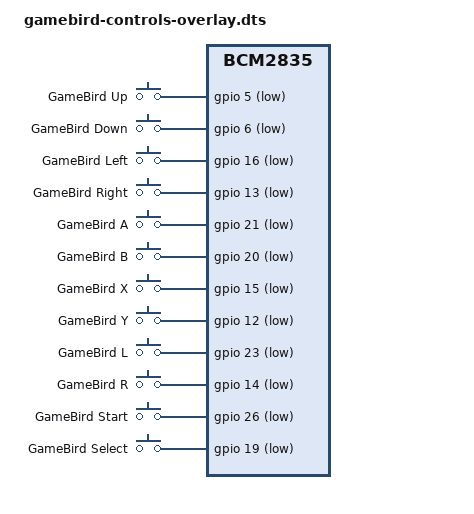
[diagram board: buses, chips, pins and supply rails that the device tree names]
/dts-v1/;
/plugin/;

/*
 * Waveshare GamePi13 controls for Raspberry Pi.
 *
 * Every switch is active-low and connects its GPIO to ground.  This overlay
 * deliberately uses the in-tree gpio-keys driver instead of an out-of-tree
 * polling module.  Numeric constants keep the file directly compilable by
 * dtc without requiring kernel headers on the target:
 *
 *   GPIO_ACTIVE_LOW = 1
 *   BTN_A/B/X/Y      = 304/305/307/308
 *   BTN_TL/TR        = 310/311
 *   BTN_SELECT/START = 314/315
 *   BTN_DPAD_*       = 544..547
 */

/ {
	compatible = "brcm,bcm2835";

	fragment@0 {
		target = <&gpio>;
		__overlay__ {
			gamebird_control_pins: gamebird_control_pins {
				brcm,pins = <5 6 13 16 19 26 21 20 15 12 23 14>;
				brcm,function = <0 0 0 0 0 0 0 0 0 0 0 0>;
				brcm,pull = <2 2 2 2 2 2 2 2 2 2 2 2>;
			};
		};
	};

	fragment@1 {
		target-path = "/";
		__overlay__ {
			gamebird_controls: gamebird-controls {
				compatible = "gpio-keys";
				label = "GameBird Controls";
				pinctrl-names = "default";
				pinctrl-0 = <&gamebird_control_pins>;
				status = "okay";

				button-up {
					label = "GameBird Up";
					linux,code = <544>;
					gpios = <&gpio 5 1>;
					debounce-interval = <20>;
				};

				button-down {
					label = "GameBird Down";
					linux,code = <545>;
					gpios = <&gpio 6 1>;
					debounce-interval = <20>;
				};

				button-left {
					label = "GameBird Left";
					linux,code = <546>;
					gpios = <&gpio 16 1>;
					debounce-interval = <20>;
				};

				button-right {
					label = "GameBird Right";
					linux,code = <547>;
					gpios = <&gpio 13 1>;
					debounce-interval = <20>;
				};

				button-a {
					label = "GameBird A";
					linux,code = <304>;
					gpios = <&gpio 21 1>;
					debounce-interval = <20>;
				};

				button-b {
					label = "GameBird B";
					linux,code = <305>;
					gpios = <&gpio 20 1>;
					debounce-interval = <20>;
				};

				button-x {
					label = "GameBird X";
					linux,code = <307>;
					gpios = <&gpio 15 1>;
					debounce-interval = <20>;
				};

				button-y {
					label = "GameBird Y";
					linux,code = <308>;
					gpios = <&gpio 12 1>;
					debounce-interval = <20>;
				};

				button-l {
					label = "GameBird L";
					linux,code = <310>;
					gpios = <&gpio 23 1>;
					debounce-interval = <20>;
				};

				button-r {
					label = "GameBird R";
					linux,code = <311>;
					gpios = <&gpio 14 1>;
					debounce-interval = <20>;
				};

				button-start {
					label = "GameBird Start";
					linux,code = <315>;
					gpios = <&gpio 26 1>;
					debounce-interval = <20>;
				};

				button-select {
					label = "GameBird Select";
					linux,code = <314>;
					gpios = <&gpio 19 1>;
					debounce-interval = <20>;
				};
			};
		};
	};
};
